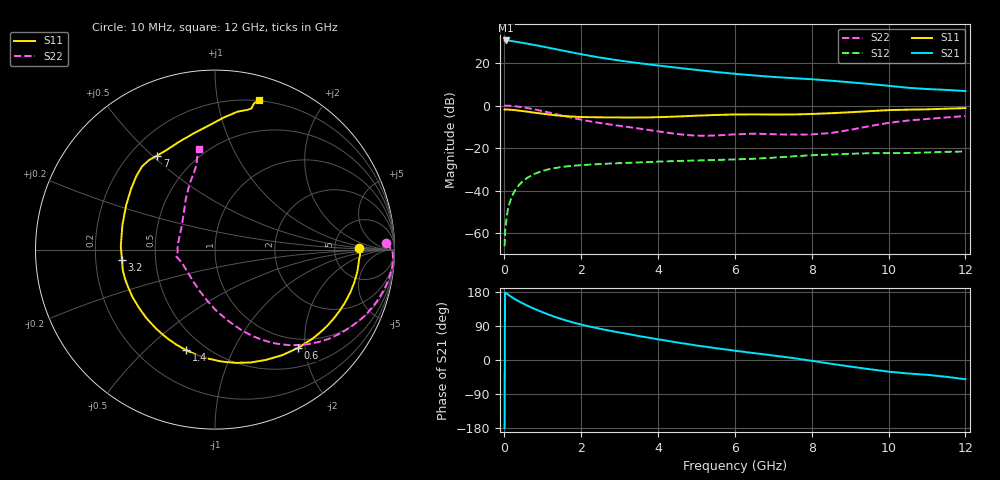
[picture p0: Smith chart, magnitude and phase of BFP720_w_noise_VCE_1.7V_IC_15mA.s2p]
! Infineon Technologies  Discrete & RF Semiconductors
! BFP720
! VCE =  1.7 V,  IC =  15 mA
! Common Emitter S-Parameters:  Aug 2012
# GHz  S  MA  R  50
!  f  S11  S21  S12  S22
! GHz  MAG  ANG  MAG  ANG  MAG  ANG  MAG  ANG
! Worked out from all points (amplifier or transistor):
!   105 points, 10 MHz to 12 GHz, reference 50 ohm
!   highest |S21| = 30.5 dB at 50 MHz (marker M1)
!   |S21| within 3 dB of that: start of sweep to 1.039 GHz
!   unconditionally stable (mu >= 1): start of sweep to 10.57 MHz; 4.803 GHz to 11.21 GHz
!   at 300 MHz: K = 0.12, MSG = 34.6 dB, |S12| = -39.3 dB
!   at 3.6 GHz: K = 0.82, MSG = 23.2 dB, |S12| = -26.6 dB
!   at 12 GHz: K = 0.81, MSG = 14.2 dB, |S12| = -21.6 dB
!   lowest NFmin = 0.63 dB at 450 MHz
!   S11 on the Smith chart (normalised r, x): 10 MHz: 9.14, +0.58; 600 MHz: 0.82, -1.86; 1.4 GHz: 0.40, -0.67; 3.2 GHz: 0.32, -0.05; 7 GHz: 0.31, +0.52; 12 GHz: 0.19, +1.32
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0.01  0.8034 0.8  33.18 -179.8  0.0005 80.4  0.9557 2.2
0.02  0.809 -1.7  33.33 178.2  0.001 89.9  0.9889 -0.5
0.05  0.8045 -4.3  33.63 176.1  0.0018 82.5  0.9926 -2.3
0.15  0.7971 -13.3  33.04 169.0  0.0055 83.2  0.9867 -8.0
0.3  0.7742 -25.9  31.47 159.4  0.0108 76.5  0.9561 -15.8
0.45  0.7463 -38.0  29.81 151.1  0.0157 70.6  0.9172 -23.1
0.6  0.7168 -49.9  28.25 143.6  0.02 65.1  0.8703 -29.7
0.8  0.6768 -65.3  26.22 134.4  0.0251 58.3  0.8068 -38.0
1  0.6411 -79.8  24.18 125.9  0.0292 52.2  0.7389 -45.5
1.2  0.6086 -93.5  22.29 118.2  0.0325 47.1  0.6733 -52.2
1.4  0.5828 -106.0  20.48 111.1  0.035 42.6  0.6117 -58.2
1.8  0.5482 -127.4  17.35 98.8  0.0386 35.8  0.5074 -68.2
2.1  0.5348 -139.8  15.41 91.3  0.0404 32.2  0.4483 -74.2
2.6  0.5273 -156.3  12.89 80.2  0.0428 27.9  0.3757 -83.1
3.2  0.5217 -173.4  10.74 69.0  0.0451 24.4  0.3149 -93.0
4.1  0.5359 162.7  8.488 53.0  0.0484 20.5  0.2406 -112.0
5  0.5773 144.1  6.848 38.3  0.0513 17.3  0.1967 -142.2
6.1  0.6166 130.4  5.454 23.3  0.0547 15.0  0.2121 -166.9
7  0.615 121.6  4.691 11.8  0.0596 14.3  0.2123 -170.5
8.5  0.6595 100.1  3.822 -9.9  0.0708 6.2  0.2259 145.2
10.5  0.7996 76.9  2.614 -35.5  0.0768 -6.0  0.4436 105.4
12  0.8688 73.6  2.186 -50.7  0.083 -14.4  0.5656 98.8
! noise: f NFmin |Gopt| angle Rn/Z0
0.45  0.63  0.22  1  0.43
1.8  0.7  0.22  14  0.13
2.4  0.75  0.2  22  0.38
5.5  0.93  0.1  -30  0.18
10  1.11  0.44  -74  0.27
